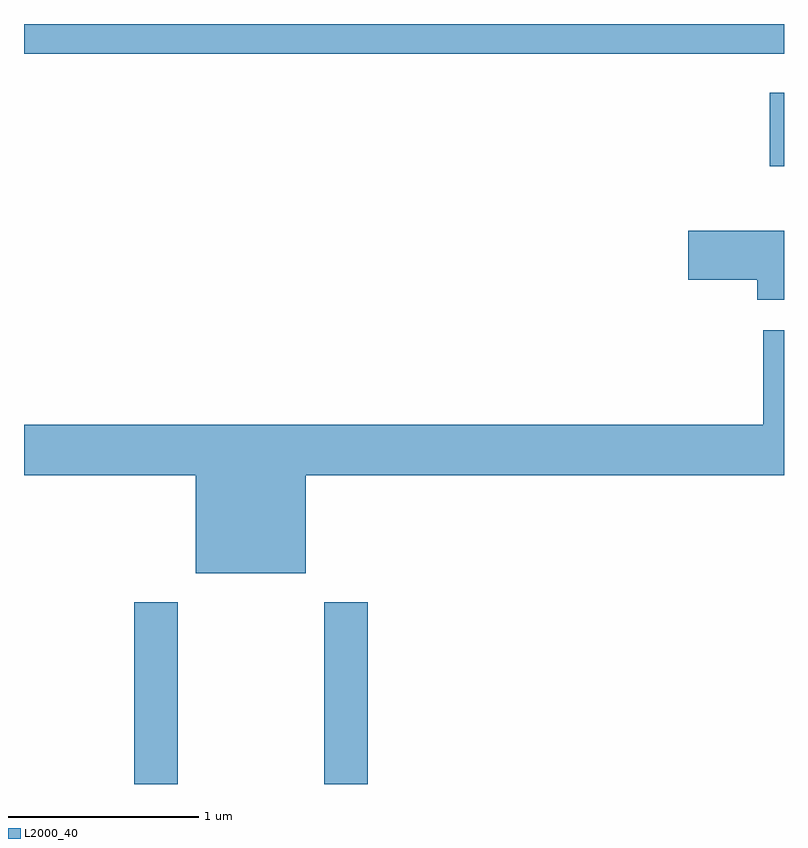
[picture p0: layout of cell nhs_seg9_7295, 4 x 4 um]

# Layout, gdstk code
import gdstk
lib = gdstk.Library(unit=1e-6, precision=1e-09)
def R(c, l, rs):  # rectangles x0, y0, x1, y1
    for r in rs: c.add(gdstk.rectangle(r[:2], r[2:], *l))
def P(c, l, *ps):  # polygons
    for p in ps: c.add(gdstk.Polygon(p, *l))
L2000_40 = (2000, 40)

nhs_seg9_7295 = lib.new_cell('nhs_seg9_7295')
R(nhs_seg9_7295, L2000_40, [(402.191,1972.432,402.419,1973.389), (403.191,1972.432,403.419,1973.389), (405.536,1975.683,405.611,1976.069), (401.611,1976.276,405.611,1976.432)])
P(nhs_seg9_7295, L2000_40, [(405.611,1975.344),(405.106,1975.344),(405.106,1975.086),(405.471,1975.086),(405.471,1974.981),(405.611,1974.981)],
  [(403.094,1974.056),(405.611,1974.056),(405.611,1974.819),(405.501,1974.819),(405.501,1974.324),(401.611,1974.324),(401.611,1974.056),(402.516,1974.056),(402.516,1973.541),(403.094,1973.541)])

lib.write_gds('nhs_seg9_7295.gds')
